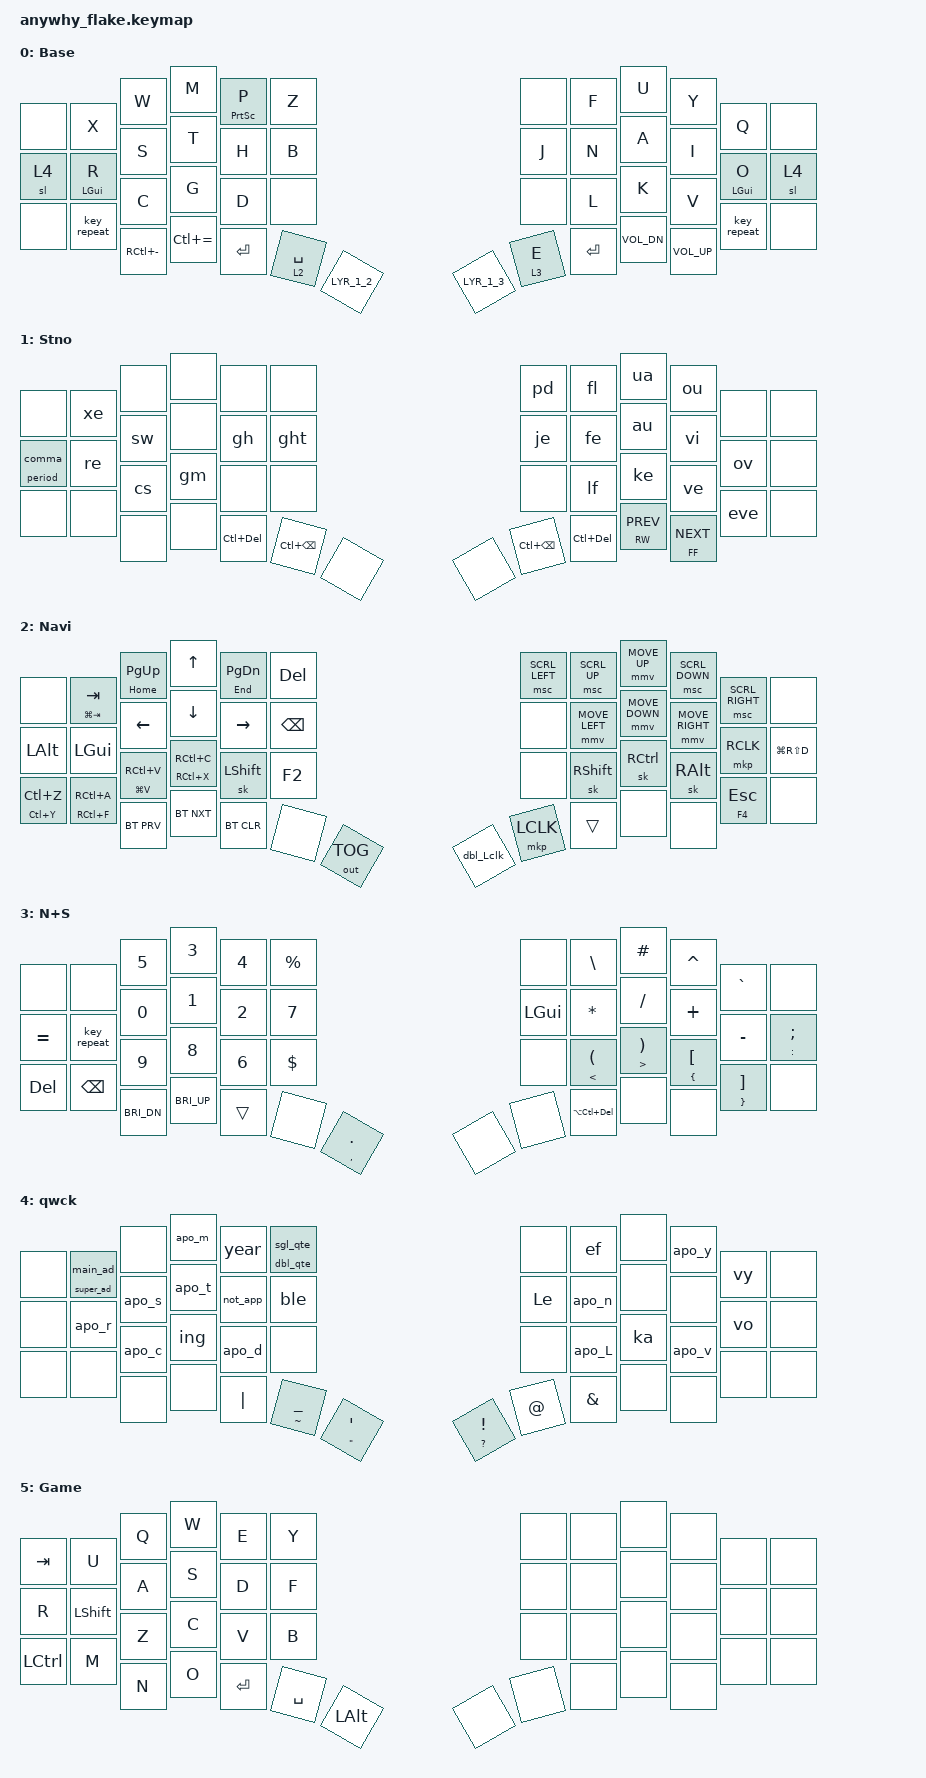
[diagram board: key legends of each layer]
#define ZMK_POINTING_DEFAULT_MOVE_VAL 1600  // default: 600
#define ZMK_POINTING_DEFAULT_SCRL_VAL 100   // default: 10

#include <behaviors.dtsi>
#include <dt-bindings/zmk/bt.h>
#include <dt-bindings/zmk/keys.h>
#include <dt-bindings/zmk/outputs.h>
#include <dt-bindings/zmk/pointing.h>

&mt {
    require-prior-idle-ms = <25>;
    flavor = "tap-preferred";
};

&caps_word { continue-list = <UNDERSCORE BACKSPACE DELETE MINUS N1 N2 N3 N4 N5 N6 N7 N8 N9 N0 PLUS TILDE LEFT RIGHT DOWN UP>; };

&lt { require-prior-idle-ms = <25>; };

&mmv { acceleration-exponent = <2>; };

&msc { acceleration-exponent = <4>; };

/ {
    combos {
        compatible = "zmk,combos";

        zoom {
            bindings = <&kp RC(N0)>;
            key-positions = <36 37>;
            layers = <0>;
        };

        mute {
            bindings = <&kp C_MUTE>;
            key-positions = <44 45>;
            require-prior-idle-ms = <10>;
            layers = <0>;
        };

        caps {
            bindings = <&caps_word>;
            key-positions = <40 41>;
            require-prior-idle-ms = <25>;
            layers = <0>;
        };

        pp {
            bindings = <&kp C_PP>;
            key-positions = <44 45>;
            require-prior-idle-ms = <25>;
            layers = <1>;
        };

        L_SHFT {
            bindings = <&sk LSHFT>;
            key-positions = <15 16>;
            layers = <0 1 4>;
            require-prior-idle-ms = <100>;
        };

        R_SHFT {
            bindings = <&sk LSHFT>;
            key-positions = <19 20>;
            layers = <0 1 4>;
            require-prior-idle-ms = <100>;
        };

        L_CTRL {
            bindings = <&sk LCTRL>;
            key-positions = <27 28>;
            layers = <0>;
            require-prior-idle-ms = <100>;
        };

        R_CTRL {
            bindings = <&sk LCTRL>;
            key-positions = <31 32>;
            layers = <0>;
            require-prior-idle-ms = <100>;
        };

        L_ALT {
            bindings = <&sk LALT>;
            key-positions = <13 14>;
            layers = <0>;
            require-prior-idle-ms = <100>;
        };

        R_ALT {
            bindings = <&sk LALT>;
            key-positions = <21 22>;
            layers = <0>;
            require-prior-idle-ms = <100>;
        };

        L_CS {
            bindings = <&sk LC(LSHFT)>;
            key-positions = <17 16>;
            require-prior-idle-ms = <100>;
            layers = <0>;
        };

        R_CS {
            bindings = <&sk LC(LSHFT)>;
            key-positions = <18 19>;
            require-prior-idle-ms = <100>;
            layers = <0>;
        };

        game {
            bindings = <&to 5>;
            key-positions = <0 12 24>;
            layers = <0>;
        };

        c_pars {
            bindings = <&PARS 0 0>;
            key-positions = <31 32>;
            layers = <3>;
            require-prior-idle-ms = <100>;
        };

        c_bars {
            bindings = <&BARS 0 0>;
            key-positions = <33 34>;
            layers = <3>;
            require-prior-idle-ms = <100>;
        };

        base {
            bindings = <&to 0>;
            key-positions = <0 12 24>;
            layers = <5 2 3>;
        };

        cbo_tab {
            bindings = <&mt LG(TAB) TAB>;
            key-positions = <1 2>;
            layers = <0>;
            require-prior-idle-ms = <100>;
        };
    };

    macros {
        dbl_Lclk: dbl_Lclk {
            compatible = "zmk,behavior-macro";
            #binding-cells = <0>;
            bindings = <&mkp LCLK &mkp LCLK>;
            label = "DBL_LCLK";
        };

        carets: carets {
            compatible = "zmk,behavior-macro";
            #binding-cells = <0>;
            bindings = <&kp LT &kp GT &kp LEFT_ARROW>;
            label = "CARETS";
        };

        parents: parents {
            compatible = "zmk,behavior-macro";
            #binding-cells = <0>;
            bindings = <&kp LPAR &kp RPAR &kp LEFT_ARROW>;
            label = "PARENTS";
        };

        brackets: brackets {
            compatible = "zmk,behavior-macro";
            #binding-cells = <0>;
            bindings = <&kp LBKT &kp RIGHT_BRACKET &kp LEFT_ARROW>;
            label = "BRACKETS";
        };

        curls: curls {
            compatible = "zmk,behavior-macro";
            #binding-cells = <0>;
            bindings = <&kp LBRC &kp RBRC &kp LEFT_ARROW>;
            label = "CURLS";
        };

        not_app: not_app {
            compatible = "zmk,behavior-macro";
            #binding-cells = <0>;
            bindings = <&kp LS(N) &kp FSLH &kp LS(A)>;
            label = "NOT_APP";
        };

        year: year {
            compatible = "zmk,behavior-macro";
            #binding-cells = <0>;
            bindings = <&kp N2 &kp N0 &kp N2 &kp N5>;
            label = "YEAR";
        };

        main_ad: main_ad {
            compatible = "zmk,behavior-macro";
            #binding-cells = <0>;
            bindings = <&kp D &kp E &kp L &kp L &kp O &kp N &kp DOT &kp M &kp O &kp Y>;
            label = "MAIN_AD";
            wait-ms = <0>;
        };

        super_ad: super_ad {
            compatible = "zmk,behavior-macro";
            #binding-cells = <0>;
            bindings = <&kp S &kp DOT &kp D &kp E &kp L &kp L &kp O &kp N &kp DOT &kp M &kp O &kp Y>;
            label = "SUPER_AD";
            wait-ms = <0>;
        };

        apo_r: apo_r {
            compatible = "zmk,behavior-macro";
            #binding-cells = <0>;
            bindings = <&kp SQT &kp R &kp E &kp SPACE>;
            label = "APO_R";
        };

        apo_s: apo_s {
            compatible = "zmk,behavior-macro";
            #binding-cells = <0>;
            bindings = <&kp SQT &kp S &kp SPACE>;
            label = "APO_S";
        };

        apo_t: apo_t {
            compatible = "zmk,behavior-macro";
            #binding-cells = <0>;
            bindings = <&kp SQT &kp T &kp SPACE>;
            label = "APO_T";
        };

        apo_y: apo_y {
            compatible = "zmk,behavior-macro";
            #binding-cells = <0>;
            bindings = <&kp Y &kp SQT>;
            label = "APO_Y";
        };

        apo_L: apo_L {
            compatible = "zmk,behavior-macro";
            #binding-cells = <0>;
            bindings = <&kp SQT &kp L &kp L &kp SPACE>;
            label = "APO_L";
        };

        apo_v: apo_v {
            compatible = "zmk,behavior-macro";
            #binding-cells = <0>;
            bindings = <&kp SQT &kp V &kp E &kp SPACE>;
            label = "APO_V";
        };

        au: au {
            compatible = "zmk,behavior-macro";
            #binding-cells = <0>;
            bindings = <&kp A &kp U>;
            label = "AU";
        };

        sw: sw {
            compatible = "zmk,behavior-macro";
            #binding-cells = <0>;
            bindings = <&kp S &kp W>;
            label = "SW";
        };

        vi: vi {
            compatible = "zmk,behavior-macro";
            #binding-cells = <0>;
            bindings = <&kp V &kp I>;
            label = "VI";
        };

        cs: cs {
            compatible = "zmk,behavior-macro";
            #binding-cells = <0>;
            bindings = <&kp C &kp S>;
            label = "CS";
        };

        fl: fl {
            compatible = "zmk,behavior-macro";
            #binding-cells = <0>;
            bindings = <&kp F &kp L>;
            label = "FL";
        };

        lf: lf {
            compatible = "zmk,behavior-macro";
            #binding-cells = <0>;
            bindings = <&kp L &kp F>;
            label = "LF";
        };

        comma: comma {
            compatible = "zmk,behavior-macro";
            #binding-cells = <0>;
            bindings = <&kp COMMA &kp SPACE>;
            label = "COMMA";
        };

        period: period {
            compatible = "zmk,behavior-macro";
            #binding-cells = <0>;
            bindings = <&kp DOT &kp SPACE>;
            label = "PERIOD";
        };

        gm: gm {
            compatible = "zmk,behavior-macro";
            #binding-cells = <0>;
            bindings = <&kp G &kp M>;
            label = "GM";
        };

        dot_com: dot_com {
            compatible = "zmk,behavior-macro";
            #binding-cells = <0>;
            bindings = <&kp DOT &kp C &kp O &kp M>;
            label = "DOT_COM";
        };

        dot_net: dot_net {
            compatible = "zmk,behavior-macro";
            #binding-cells = <0>;
            bindings = <&kp DOT &kp N &kp E &kp T>;
            label = "DOT_NET";
        };

        dot_org: dot_org {
            compatible = "zmk,behavior-macro";
            #binding-cells = <0>;
            bindings = <&kp DOT &kp O &kp R &kp G>;
            label = "DOT_ORG";
        };

        pd: pd {
            compatible = "zmk,behavior-macro";
            #binding-cells = <0>;
            bindings = <&kp P &kp D>;
            label = "PD";
        };

        ef: ef {
            compatible = "zmk,behavior-macro";
            #binding-cells = <0>;
            bindings = <&kp E &kp F>;
            label = "EF";
        };

        fe: fe {
            compatible = "zmk,behavior-macro";
            #binding-cells = <0>;
            bindings = <&kp F &kp E>;
            label = "FE";
        };

        apo_c: apo_c {
            compatible = "zmk,behavior-macro";
            #binding-cells = <0>;
            bindings = <&kp C &kp SQT>;
            label = "APO_C";
        };

        apo_n: apo_n {
            compatible = "zmk,behavior-macro";
            #binding-cells = <0>;
            bindings = <&kp N &kp SQT>;
            label = "APO_N";
        };

        ua: ua {
            compatible = "zmk,behavior-macro";
            #binding-cells = <0>;
            bindings = <&kp U &kp A>;
            label = "UA";
        };

        ble: ble {
            compatible = "zmk,behavior-macro";
            #binding-cells = <0>;
            bindings = <&kp B &kp L &kp E>;
            label = "BLE";
        };

        Le: Le {
            compatible = "zmk,behavior-macro";
            #binding-cells = <0>;
            bindings = <&kp L &kp E>;
            label = "LE";
        };

        ke: ke {
            compatible = "zmk,behavior-macro";
            #binding-cells = <0>;
            bindings = <&kp K &kp E>;
            label = "KE";
        };

        ve: ve {
            compatible = "zmk,behavior-macro";
            #binding-cells = <0>;
            bindings = <&kp V &kp E>;
            label = "VE";
        };

        eve: eve {
            compatible = "zmk,behavior-macro";
            #binding-cells = <0>;
            bindings = <&kp E &kp V &kp E>;
            label = "EVE";
        };

        je: je {
            compatible = "zmk,behavior-macro";
            #binding-cells = <0>;
            bindings = <&kp J &kp E>;
            label = "JE";
        };

        ka: ka {
            compatible = "zmk,behavior-macro";
            #binding-cells = <0>;
            bindings = <&kp K &kp A>;
            label = "KA";
        };

        ov: ov {
            compatible = "zmk,behavior-macro";
            #binding-cells = <0>;
            bindings = <&kp O &kp V>;
            label = "OV";
        };

        vo: vo {
            compatible = "zmk,behavior-macro";
            #binding-cells = <0>;
            bindings = <&kp V &kp O>;
            label = "VO";
        };

        apo_m: apo_m {
            compatible = "zmk,behavior-macro";
            #binding-cells = <0>;
            bindings = <&kp SQT &kp M &kp SPACE>;
            label = "APO_M";
        };

        ou: ou {
            compatible = "zmk,behavior-macro";
            #binding-cells = <0>;
            bindings = <&kp O &kp U>;
            label = "OU";
        };

        vy: vy {
            compatible = "zmk,behavior-macro";
            #binding-cells = <0>;
            bindings = <&kp V &kp Y>;
            label = "VY";
        };

        xe: xe {
            compatible = "zmk,behavior-macro";
            #binding-cells = <0>;
            bindings = <&kp X &kp E>;
            label = "XE";
        };

        dbl_qte: dbl_qte {
            compatible = "zmk,behavior-macro";
            #binding-cells = <0>;
            bindings = <&kp DQT &kp DQT &kp LEFT>;
            label = "DBL_QTE";
        };

        sgl_qte: sgl_qte {
            compatible = "zmk,behavior-macro";
            #binding-cells = <0>;
            bindings = <&kp SQT &kp SQT &kp LEFT>;
            label = "SGL_QTE";
        };

        re: re {
            compatible = "zmk,behavior-macro";
            #binding-cells = <0>;
            bindings = <&kp R &kp E>;
            label = "RE";
        };

        gh: gh {
            compatible = "zmk,behavior-macro";
            #binding-cells = <0>;
            bindings = <&kp G &kp H>;
            label = "GH";
        };

        apo_d: apo_d {
            compatible = "zmk,behavior-macro";
            #binding-cells = <0>;
            bindings = <&kp SQT &kp D &kp SPACE>;
            label = "APO_D";
        };

        ing: ion {
            compatible = "zmk,behavior-macro";
            #binding-cells = <0>;
            bindings = <&kp I &kp N &kp G>;
            label = "ION";
        };

        ght: ght {
            compatible = "zmk,behavior-macro";
            #binding-cells = <0>;
            bindings = <&kp G &kp H &kp T>;
            label = "GHT";
        };
    };

    behaviors {
        punct_spc: punct_spc {
            compatible = "zmk,behavior-hold-tap";
            label = "PUNCT_SPC";
            bindings = <&period>, <&comma>;

            #binding-cells = <2>;
            tapping-term-ms = <200>;
            require-prior-idle-ms = <25>;
            flavor = "tap-preferred";
        };

        quotes: quotes {
            compatible = "zmk,behavior-hold-tap";
            label = "QUOTES";
            bindings = <&dbl_qte>, <&sgl_qte>;

            #binding-cells = <2>;
            tapping-term-ms = <200>;
            require-prior-idle-ms = <25>;
            flavor = "tap-preferred";
        };

        LYR_1_2: LYR_1_2 {
            compatible = "zmk,behavior-tap-dance";
            label = "LYR_1_2";
            #binding-cells = <0>;
            bindings = <&sl 1>, <&to 2>;
        };

        LYR_1_3: LYR_1_3 {
            compatible = "zmk,behavior-tap-dance";
            label = "LYR_1_3";
            #binding-cells = <0>;
            bindings = <&sl 1>, <&to 3>;
        };

        PARS: PARS {
            compatible = "zmk,behavior-hold-tap";
            label = "PARS";
            bindings = <&carets>, <&parents>;

            #binding-cells = <2>;
            flavor = "tap-preferred";
            tapping-term-ms = <200>;
        };

        BARS: BARS {
            compatible = "zmk,behavior-hold-tap";
            label = "BARS";
            bindings = <&curls>, <&brackets>;

            #binding-cells = <2>;
            tapping-term-ms = <200>;
            flavor = "tap-preferred";
        };

        ADIR: ADIR {
            compatible = "zmk,behavior-hold-tap";
            label = "ADIR";
            bindings = <&super_ad>, <&main_ad>;

            #binding-cells = <2>;
            tapping-term-ms = <200>;
            flavor = "tap-preferred";
        };
    };

    keymap {
        compatible = "zmk,keymap";

        base {
            display-name = "Base";
            bindings = <
&none  &kp X          &kp W          &kp M       &mt PRINTSCREEN P  &kp Z       &none     &kp F    &kp U       &kp Y         &kp Q         &none
&sl 4  &mt LGUI R     &kp S          &kp T       &kp H              &kp B       &kp J     &kp N    &kp A       &kp I         &mt LGUI O    &sl 4
&none  &key_repeat    &kp C          &kp G       &kp D              &none       &none     &kp L    &kp K       &kp V         &key_repeat   &none
       &kp RC(MINUS)  &kp LC(EQUAL)  &kp RETURN  &lt 2 SPACE        &LYR_1_2    &LYR_1_3  &lt 3 E  &kp RETURN  &kp C_VOL_DN  &kp C_VOL_UP
            >;
        };

        steno {
            display-name = "Stno";
            bindings = <
&none           &xe    &none  &none        &none         &none    &pd    &fl           &ua          &ou              &none            &none
&punct_spc 0 0  &re    &sw    &none        &gh           &ght     &je    &fe           &au          &vi              &ov              &none
&none           &none  &cs    &gm          &none         &none    &none  &lf           &ke          &ve              &eve             &none
                &none  &none  &kp LC(DEL)  &kp LC(BSPC)  &none    &none  &kp LC(BSPC)  &kp LC(DEL)  &mt C_RW C_PREV  &mt C_FF C_NEXT
            >;
        };

        Navigation {
            display-name = "Navi";
            bindings = <
&none            &mt LG(TAB) TAB  &mt HOME PG_UP   &kp UP           &mt END PG_DN  &kp DEL         &msc SCRL_LEFT  &msc SCRL_UP    &mmv MOVE_UP    &msc SCRL_DOWN   &msc SCRL_RIGHT  &none
&kp LALT         &kp LGUI         &kp LEFT         &kp DOWN         &kp RIGHT      &kp BSPC        &none           &mmv MOVE_LEFT  &mmv MOVE_DOWN  &mmv MOVE_RIGHT  &mkp RCLK        &kp LG(RS(D))
&mt LC(Y) LC(Z)  &mt RC(F) RC(A)  &mt LG(V) RC(V)  &mt RC(X) RC(C)  &sk LSHFT      &kp F2          &none           &sk RSHFT       &sk RCTRL       &sk RALT         &mt F4 ESC       &none
                 &bt BT_PRV       &bt BT_NXT       &bt BT_CLR       &none          &out OUT_TOG    &dbl_Lclk       &mkp LCLK       &trans          &none            &none
            >;
        };

        num+sym {
            display-name = "N+S";
            bindings = <
&none      &none         &kp N5        &kp N3  &kp N4  &kp PERCENT         &none     &kp BACKSLASH                   &kp POUND                           &kp CARET              &kp GRAVE                      &none
&kp EQUAL  &key_repeat   &kp N0        &kp N1  &kp N2  &kp N7              &kp LGUI  &kp ASTRK                       &kp SLASH                           &kp PLUS               &kp MINUS                      &mt COLON SEMI
&kp DEL    &kp BSPC      &kp N9        &kp N8  &kp N6  &kp DOLLAR          &none     &mt LESS_THAN LEFT_PARENTHESIS  &mt GREATER_THAN RIGHT_PARENTHESIS  &mt LBRC LEFT_BRACKET  &mt RIGHT_BRACE RIGHT_BRACKET  &none
           &kp C_BRI_DN  &kp C_BRI_UP  &trans  &none   &mt COMMA PERIOD    &none     &none                           &kp LA(LC(DEL))                     &none                  &none
            >;
        };

        quick {
            display-name = "qwck";
            bindings = <
&none  &ADIR 0 0  &none   &apo_m    &year            &quotes 0 0                       &none              &ef     &none     &apo_y  &vy    &none
&none  &apo_r     &apo_s  &apo_t    &not_app         &ble                              &Le                &apo_n  &none     &none   &vo    &none
&none  &none      &apo_c  &ing      &apo_d           &none                             &none              &apo_L  &ka       &apo_v  &none  &none
       &none      &none   &kp PIPE  &mt TILDE UNDER  &mt DOUBLE_QUOTES SINGLE_QUOTE    &mt QUESTION EXCL  &kp AT  &kp AMPS  &none   &none
            >;
        };

        gaming {
            display-name = "Game";
            bindings = <
&kp TAB    &kp U           &kp Q  &kp W    &kp E      &kp Y           &none  &none  &none  &none  &none  &none
&kp R      &kp LEFT_SHIFT  &kp A  &kp S    &kp D      &kp F           &none  &none  &none  &none  &none  &none
&kp LCTRL  &kp M           &kp Z  &kp C    &kp V      &kp B           &none  &none  &none  &none  &none  &none
           &kp N           &kp O  &kp RET  &kp SPACE  &kp LEFT_ALT    &none  &none  &none  &none  &none
            >;
        };
    };
};
